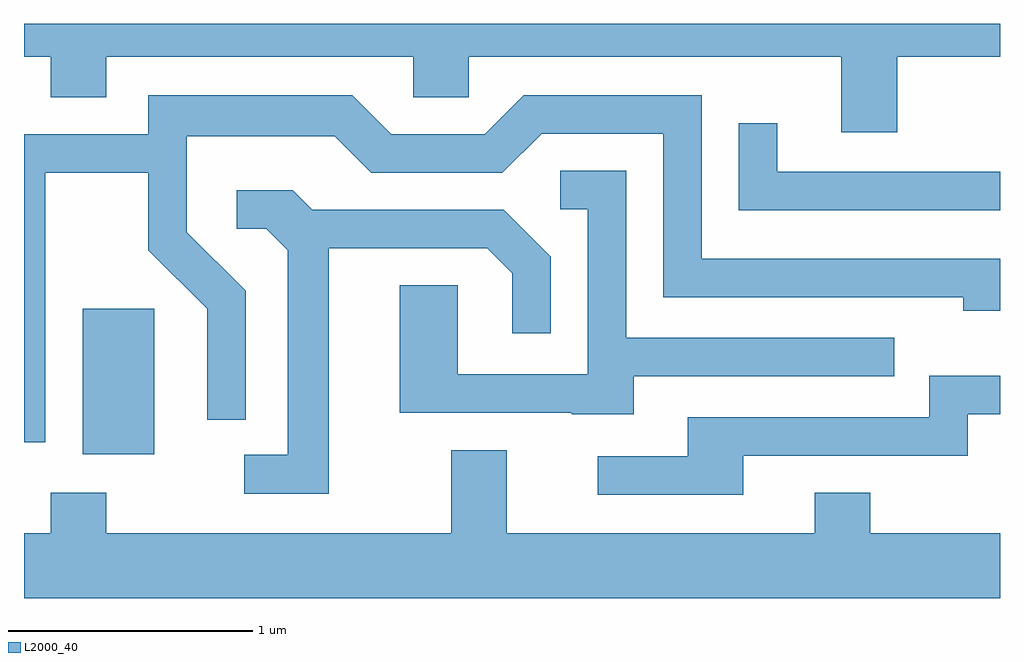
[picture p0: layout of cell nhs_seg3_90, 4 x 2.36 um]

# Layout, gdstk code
import gdstk
lib = gdstk.Library(unit=1e-6, precision=1e-09)
def R(c, l, rs):  # rectangles x0, y0, x1, y1
    for r in rs: c.add(gdstk.rectangle(r[:2], r[2:], *l))
def P(c, l, *ps):  # polygons
    for p in ps: c.add(gdstk.Polygon(p, *l))
L2000_40 = (2000, 40)

nhs_seg3_90 = lib.new_cell('nhs_seg3_90')
R(nhs_seg3_90, L2000_40, [(187.851,1162.126,188.144,1162.724)])
P(nhs_seg3_90, L2000_40, [(191.189,1163.756),(191.611,1163.756),(191.611,1163.892),(187.611,1163.892),(187.611,1163.756),(187.721,1163.756),(187.721,1163.591),(187.949,1163.591),(187.949,1163.756),(189.206,1163.756),(189.206,1163.591),(189.434,1163.591),(189.434,1163.756),(190.961,1163.756),(190.961,1163.446),(191.189,1163.446)],
  [(187.699,1163.281),(188.121,1163.281),(188.121,1162.964),(188.361,1162.724),(188.361,1162.268),(188.519,1162.268),(188.519,1162.797),(188.279,1163.037),(188.279,1163.431),(188.884,1163.431),(189.034,1163.281),(189.572,1163.281),(189.732,1163.441),(190.231,1163.441),(190.231,1162.771),(191.461,1162.771),(191.461,1162.716),(191.611,1162.716),(191.611,1162.929),(190.389,1162.929),(190.389,1163.599),(189.659,1163.599),(189.499,1163.439),(189.117,1163.439),(188.957,1163.599),(188.121,1163.599),(188.121,1163.439),(187.611,1163.439),(187.611,1162.176),(187.699,1162.176)],
  [(191.611,1163.284),(190.699,1163.284),(190.699,1163.483),(190.541,1163.483),(190.541,1163.126),(191.611,1163.126)],
  [(190.109,1162.446),(191.178,1162.446),(191.178,1162.604),(190.079,1162.604),(190.079,1163.289),(189.808,1163.289),(189.808,1163.131),(189.921,1163.131),(189.921,1162.454),(189.389,1162.454),(189.389,1162.819),(189.151,1162.819),(189.151,1162.296),(189.855,1162.296),(189.855,1162.291),(190.109,1162.291)],
  [(188.859,1162.971),(189.509,1162.971),(189.611,1162.869),(189.611,1162.623),(189.769,1162.623),(189.769,1162.937),(189.577,1163.129),(188.792,1163.129),(188.712,1163.209),(188.483,1163.209),(188.483,1163.051),(188.604,1163.051),(188.691,1162.964),(188.691,1162.124),(188.513,1162.124),(188.513,1161.966),(188.859,1161.966)],
  [(190.559,1162.121),(191.479,1162.121),(191.479,1162.291),(191.611,1162.291),(191.611,1162.449),(191.321,1162.449),(191.321,1162.279),(190.331,1162.279),(190.331,1162.119),(189.963,1162.119),(189.963,1161.961),(190.559,1161.961)],
  [(191.611,1161.804),(191.079,1161.804),(191.079,1161.969),(190.851,1161.969),(190.851,1161.804),(189.589,1161.804),(189.589,1162.144),(189.361,1162.144),(189.361,1161.804),(187.949,1161.804),(187.949,1161.969),(187.721,1161.969),(187.721,1161.804),(187.611,1161.804),(187.611,1161.536),(191.611,1161.536)])

lib.write_gds('nhs_seg3_90.gds')
